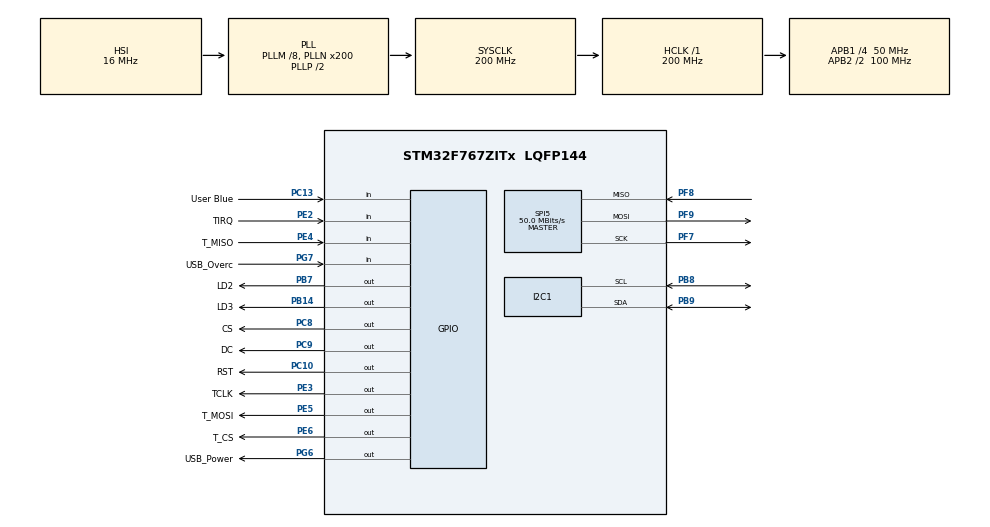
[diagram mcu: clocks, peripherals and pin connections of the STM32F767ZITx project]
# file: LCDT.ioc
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CORTEX_M7.ART_ACCELERATOR_ENABLE=1
CORTEX_M7.CPU_DCache=Enabled
CORTEX_M7.CPU_ICache=Enabled
CORTEX_M7.MPU_Control=__NULL
CORTEX_M7.PREFETCH_ENABLE=1
I2C1.Timing=0x00C0EAFF
Mcu.Family=STM32F7
Mcu.Name=STM32F767ZITx
Mcu.Package=LQFP144
NVIC.PriorityGroup=NVIC_PRIORITYGROUP_4
PB14.GPIO_Label=LD3
PB14.Signal=GPIO_Output
PB7.GPIO_Label=LD2
PB7.Signal=GPIO_Output
PB8.Mode=I2C
PB8.Signal=I2C1_SCL
PB9.Mode=I2C
PB9.Signal=I2C1_SDA
PC10.GPIO_Label=RST
PC10.GPIO_Speed=GPIO_SPEED_FREQ_VERY_HIGH
PC10.Signal=GPIO_Output
PC13.GPIO_Label=User Blue
PC13.Signal=GPIO_Input
PC8.GPIO_Label=CS
PC8.GPIO_Speed=GPIO_SPEED_FREQ_VERY_HIGH
PC8.Signal=GPIO_Output
PC9.GPIO_Label=DC
PC9.GPIO_Speed=GPIO_SPEED_FREQ_VERY_HIGH
PC9.Signal=GPIO_Output
PE2.GPIO_Label=TIRQ
PE2.Signal=GPIO_Input
PE3.GPIO_Label=TCLK
PE3.GPIO_Speed=GPIO_SPEED_FREQ_VERY_HIGH
PE3.Signal=GPIO_Output
PE4.GPIO_Label=T_MISO
PE4.Signal=GPIO_Input
PE5.GPIO_Label=T_MOSI
PE5.GPIO_Speed=GPIO_SPEED_FREQ_VERY_HIGH
PE5.Signal=GPIO_Output
PE6.GPIO_Label=T_CS
PE6.GPIO_Speed=GPIO_SPEED_FREQ_VERY_HIGH
PE6.Signal=GPIO_Output
PF7.Mode=Full_Duplex_Master
PF7.Signal=SPI5_SCK
PF8.Mode=Full_Duplex_Master
PF8.Signal=SPI5_MISO
PF9.Mode=Full_Duplex_Master
PF9.Signal=SPI5_MOSI
PG6.GPIO_Label=USB_Power
PG6.Signal=GPIO_Output
PG7.GPIO_Label=USB_Overc
PG7.Signal=GPIO_Input
ProjectManager.HeapSize=0x200
ProjectManager.StackSize=0x400
ProjectManager.TargetToolchain=STM32CubeIDE
RCC.AHBFreq_Value=200000000
RCC.APB1CLKDivider=RCC_HCLK_DIV4
RCC.APB1Freq_Value=50000000
RCC.APB1TimFreq_Value=100000000
RCC.APB2CLKDivider=RCC_HCLK_DIV2
RCC.APB2Freq_Value=100000000
RCC.APB2TimFreq_Value=200000000
RCC.CortexFreq_Value=200000000
RCC.HCLKFreq_Value=200000000
RCC.HSE_VALUE=25000000
RCC.HSI_VALUE=16000000
RCC.LSE_VALUE=32768
RCC.PLLM=8
RCC.PLLN=200
RCC.PLLQ=9
RCC.SYSCLKFreq_VALUE=200000000
RCC.SYSCLKSource=RCC_SYSCLKSOURCE_PLLCLK
RCC.USBFreq_Value=44444444.44444445
RCC.VCOOutputFreq_Value=400000000
SPI5.CalculateBaudRate=50.0 MBits/s
SPI5.DataSize=SPI_DATASIZE_8BIT
SPI5.Direction=SPI_DIRECTION_2LINES
SPI5.Mode=SPI_MODE_MASTER
SPI5.NSSPMode=SPI_NSS_PULSE_DISABLE
SPI5.VirtualType=VM_MASTER
TIM1.ClockDivision=TIM_CLOCKDIVISION_DIV2
TIM1.Period=0
TIM1.Prescaler=10000
VP_RNG_VS_RNG.Mode=RNG_Activate
VP_TIM1_VS_ClockSourceINT.Mode=Internal
board=custom

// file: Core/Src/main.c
/* USER CODE BEGIN Header */
/**
  ******************************************************************************
  * @file           : main.c
  * @brief          : Main program body
  ******************************************************************************
  * @attention
  *
  * Copyright (c) 2023 STMicroelectronics.
  * All rights reserved.
  *
  * This software is licensed under terms that can be found in the LICENSE file
  * in the root directory of this software component.
  * If no LICENSE file comes with this software, it is provided AS-IS.
  *
  ******************************************************************************
  */
/* USER CODE END Header */
#include "main.h"
#include "i2c.h"
#include "rng.h"
#include "spi.h"
#include "tim.h"
#include "gpio.h"

/* USER CODE BEGIN Includes */

#include "ILI9341_GFX.h"
#include "ILI9341_STM32_Driver.h"
#include "ILI9341_Touchscreen.h"
#include "string.h"
#include "stdio.h"
#include "picture.h"
/* USER CODE END Includes */

/* USER CODE BEGIN PV */

u_int16_t rcolor ;
u_int16_t gcolor ;
u_int16_t bcolor ;
u_int16_t rgbcolor;

float h=30.0,t=40.0;
u_int8_t step =0;
HAL_StatusTypeDef status;

/* USER CODE END PV */

void SystemClock_Config(void);
/* USER CODE BEGIN PFP */

uint16_t CRC16_2(uint8_t *,uint8_t);
/* USER CODE END PFP */

int main(void)
{
  /* USER CODE BEGIN 1 */
  char str[50];
  uint8_t cmdBuffer[3];
  uint8_t dataBuffer[8];
  /* USER CODE END 1 */
/* Enable the CPU Cache */

  /* Enable I-Cache---------------------------------------------------------*/
  SCB_EnableICache();

  /* Enable D-Cache---------------------------------------------------------*/
  SCB_EnableDCache();

  /* MCU Configuration--------------------------------------------------------*/

  /* Reset of all peripherals, Initializes the Flash interface and the Systick. */
  HAL_Init();

  /* Configure the system clock */
  SystemClock_Config();

  /* Initialize all configured peripherals */
  MX_GPIO_Init();
  MX_RNG_Init();
  MX_SPI5_Init();
  MX_TIM1_Init();
  MX_I2C1_Init();
  /* USER CODE BEGIN 2 */
  ILI9341_Init();

  ILI9341_Set_Rotation(SCREEN_HORIZONTAL_2);

  ILI9341_Fill_Screen(WHITE);
  uint16_t red=0;
  uint16_t green=0;
  uint16_t blue=0;
  uint16_t timeout=0;
  cmdBuffer[0]=0x03;
  cmdBuffer[1]=0x00;
  cmdBuffer[2]=0x04;

  /* USER CODE END 2 */

  /* Infinite loop */
  while (1)
  {

  }
}

void SystemClock_Config(void)
{
  RCC_OscInitTypeDef RCC_OscInitStruct = {0};
  RCC_ClkInitTypeDef RCC_ClkInitStruct = {0};

  /** Configure the main internal regulator output voltage
  */
  __HAL_RCC_PWR_CLK_ENABLE();
  __HAL_PWR_VOLTAGESCALING_CONFIG(PWR_REGULATOR_VOLTAGE_SCALE1);

  /** Initializes the RCC Oscillators according to the specified parameters
  * in the RCC_OscInitTypeDef structure.
  */
  RCC_OscInitStruct.OscillatorType = RCC_OSCILLATORTYPE_HSI;
  RCC_OscInitStruct.HSIState = RCC_HSI_ON;
  RCC_OscInitStruct.HSICalibrationValue = RCC_HSICALIBRATION_DEFAULT;
  RCC_OscInitStruct.PLL.PLLState = RCC_PLL_ON;
  RCC_OscInitStruct.PLL.PLLSource = RCC_PLLSOURCE_HSI;
  RCC_OscInitStruct.PLL.PLLM = 8;
  RCC_OscInitStruct.PLL.PLLN = 200;
  RCC_OscInitStruct.PLL.PLLP = RCC_PLLP_DIV2;
  RCC_OscInitStruct.PLL.PLLQ = 9;
  RCC_OscInitStruct.PLL.PLLR = 2;
  if (HAL_RCC_OscConfig(&RCC_OscInitStruct) != HAL_OK)
  {
    Error_Handler();
  }

  /** Activate the Over-Drive mode
  */
  if (HAL_PWREx_EnableOverDrive() != HAL_OK)
  {
    Error_Handler();
  }

  /** Initializes the CPU, AHB and APB buses clocks
  */
  RCC_ClkInitStruct.ClockType = RCC_CLOCKTYPE_HCLK|RCC_CLOCKTYPE_SYSCLK
                              |RCC_CLOCKTYPE_PCLK1|RCC_CLOCKTYPE_PCLK2;
  RCC_ClkInitStruct.SYSCLKSource = RCC_SYSCLKSOURCE_PLLCLK;
  RCC_ClkInitStruct.AHBCLKDivider = RCC_SYSCLK_DIV1;
  RCC_ClkInitStruct.APB1CLKDivider = RCC_HCLK_DIV4;
  RCC_ClkInitStruct.APB2CLKDivider = RCC_HCLK_DIV2;

  if (HAL_RCC_ClockConfig(&RCC_ClkInitStruct, FLASH_LATENCY_6) != HAL_OK)
  {
    Error_Handler();
  }
}

/* USER CODE BEGIN 4 */
uint16_t CRC16_2 (uint8_t *ptr, uint8_t length)
{
       uint16_t crc = 0xFFFF;
       uint8_t s = 0x00;
       while (length--)
       {
         crc ^= *ptr++;
         for (s =0 ;s< 8; s++)
         {
           if ((crc & 0x01) != 0)
           {
             crc >>= 1;
             crc ^= 0xA001;
           }
           else crc >>= 1;
         }

       }
       return crc;
}

/* USER CODE END 4 */

void Error_Handler(void)
{
  __disable_irq();
  while (1)
  {
  }
}
